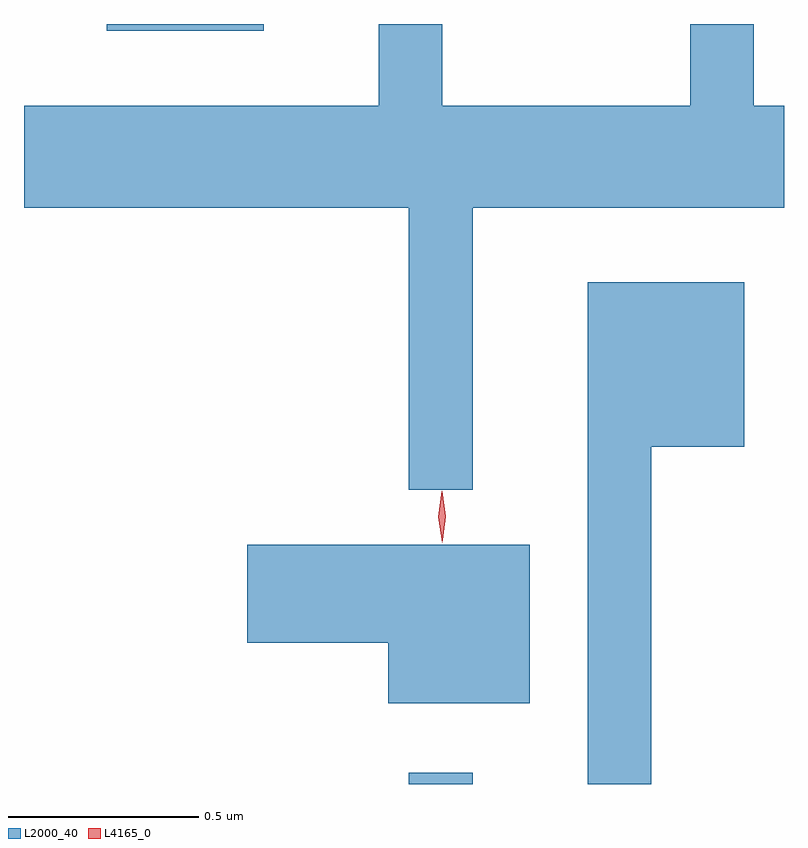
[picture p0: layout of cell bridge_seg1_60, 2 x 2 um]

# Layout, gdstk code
import gdstk
lib = gdstk.Library(unit=1e-6, precision=1e-09)
def R(c, l, rs):  # rectangles x0, y0, x1, y1
    for r in rs: c.add(gdstk.rectangle(r[:2], r[2:], *l))
def P(c, l, *ps):  # polygons
    for p in ps: c.add(gdstk.Polygon(p, *l))
L2000_40 = (2000, 40)
L4165_0 = (4165, 0)

bridge_seg1_60 = lib.new_cell('bridge_seg1_60')
R(bridge_seg1_60, L2000_40, [(1908.841,882.519,1909.009,882.548), (1908.046,884.501,1908.459,884.519)])
P(bridge_seg1_60, L2000_40, [(1909.009,884.036),(1909.828,884.036),(1909.828,884.304),(1909.749,884.304),(1909.749,884.519),(1909.581,884.519),(1909.581,884.304),(1908.929,884.304),(1908.929,884.519),(1908.761,884.519),(1908.761,884.304),(1907.828,884.304),(1907.828,884.036),(1908.841,884.036),(1908.841,883.293),(1909.009,883.293)],
  [(1909.479,883.406),(1909.724,883.406),(1909.724,883.839),(1909.311,883.839),(1909.311,882.519),(1909.479,882.519)],
  [(1909.159,883.149),(1908.416,883.149),(1908.416,882.891),(1908.786,882.891),(1908.786,882.731),(1909.159,882.731)])
P(bridge_seg1_60, L4165_0, [(1908.928,883.154),(1908.918,883.222),(1908.927,883.29),(1908.928,883.29),(1908.928,883.29),(1908.938,883.222),(1908.929,883.154),(1908.929,883.154)],
  [(1908.929,883.16),(1908.929,883.161),(1908.919,883.224),(1908.927,883.286),(1908.928,883.287),(1908.928,883.286),(1908.938,883.224),(1908.93,883.161)])

lib.write_gds('bridge_seg1_60.gds')
